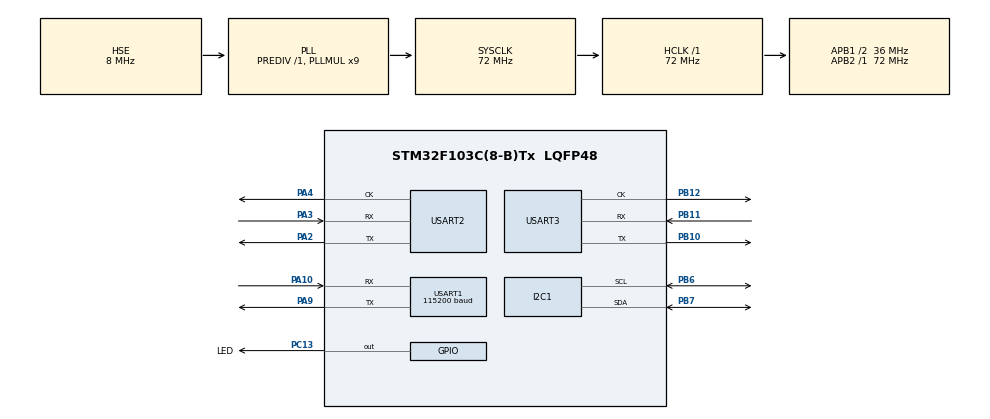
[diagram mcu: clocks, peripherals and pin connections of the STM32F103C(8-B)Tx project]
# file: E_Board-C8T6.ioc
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Dma.Request0=USART1_RX
Dma.USART1_RX.0.Direction=DMA_PERIPH_TO_MEMORY
Dma.USART1_RX.0.Instance=DMA1_Channel5
Dma.USART1_RX.0.MemDataAlignment=DMA_MDATAALIGN_BYTE
Dma.USART1_RX.0.MemInc=DMA_MINC_ENABLE
Dma.USART1_RX.0.Mode=DMA_NORMAL
Dma.USART1_RX.0.PeriphDataAlignment=DMA_PDATAALIGN_BYTE
Dma.USART1_RX.0.PeriphInc=DMA_PINC_DISABLE
Dma.USART1_RX.0.Priority=DMA_PRIORITY_LOW
I2C1.I2C_Mode=I2C_Standard
Mcu.Family=STM32F1
Mcu.Name=STM32F103C(8-B)Tx
Mcu.Package=LQFP48
NVIC.DMA1_Channel5_IRQn=true\:0\:0\:false\:false\:true\:false\:true\:true
NVIC.PriorityGroup=NVIC_PRIORITYGROUP_4
NVIC.USART1_IRQn=true\:0\:0\:false\:false\:true\:true\:true\:true
PA10.Mode=Asynchronous
PA10.Signal=USART1_RX
PA13.Mode=Serial_Wire
PA13.Signal=SYS_JTMS-SWDIO
PA14.Mode=Serial_Wire
PA14.Signal=SYS_JTCK-SWCLK
PA2.Mode=Synchronous
PA2.Signal=USART2_TX
PA3.Mode=Synchronous
PA3.Signal=USART2_RX
PA4.Mode=Synchronous
PA4.Signal=USART2_CK
PA9.Mode=Asynchronous
PA9.Signal=USART1_TX
PB10.Mode=Synchronous
PB10.Signal=USART3_TX
PB11.Mode=Synchronous
PB11.Signal=USART3_RX
PB12.Mode=Synchronous
PB12.Signal=USART3_CK
PB6.Mode=I2C
PB6.Signal=I2C1_SCL
PB7.Mode=I2C
PB7.Signal=I2C1_SDA
PC13-TAMPER-RTC.GPIO_Label=LED
PC13-TAMPER-RTC.GPIO_ModeDefaultOutputPP=GPIO_MODE_OUTPUT_PP
PC13-TAMPER-RTC.Signal=GPIO_Output
PD0-OSC_IN.Mode=HSE-External-Oscillator
PD0-OSC_IN.Signal=RCC_OSC_IN
PD1-OSC_OUT.Mode=HSE-External-Oscillator
PD1-OSC_OUT.Signal=RCC_OSC_OUT
ProjectManager.HeapSize=0x200
ProjectManager.StackSize=0x400
ProjectManager.TargetToolchain=MDK-ARM V5.27
RCC.AHBFreq_Value=72000000
RCC.APB1CLKDivider=RCC_HCLK_DIV2
RCC.APB1Freq_Value=36000000
RCC.APB1TimFreq_Value=72000000
RCC.APB2Freq_Value=72000000
RCC.APB2TimFreq_Value=72000000
RCC.HCLKFreq_Value=72000000
RCC.PLLMUL=RCC_PLL_MUL9
RCC.PLLSourceVirtual=RCC_PLLSOURCE_HSE
RCC.SYSCLKFreq_VALUE=72000000
RCC.SYSCLKSource=RCC_SYSCLKSOURCE_PLLCLK
RCC.USBFreq_Value=72000000
TIM2.Period=10000-1
TIM2.Prescaler=72-1
USART1.BaudRate=115200
USART1.Mode=MODE_TX_RX
USART1.OverSampling=UART_OVERSAMPLING_16
USART1.Parity=PARITY_NONE
USART1.StopBits=STOPBITS_1
USART1.VirtualMode=VM_ASYNC
USART1.WordLength=WORDLENGTH_8B
USART2.VirtualMode=VM_SYNC
USART3.VirtualMode=VM_SYNC
VP_TIM2_VS_ClockSourceINT.Mode=Internal
board=custom

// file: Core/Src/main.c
/* USER CODE BEGIN Header */
/**
  ******************************************************************************
  * @file           : main.c
  * @brief          : Main program body
  ******************************************************************************
  * @attention
  *
  * Copyright (c) 2023 STMicroelectronics.
  * All rights reserved.
  *
  * This software is licensed under terms that can be found in the LICENSE file
  * in the root directory of this software component.
  * If no LICENSE file comes with this software, it is provided AS-IS.
  *
  ******************************************************************************
  */
/* USER CODE END Header */
#include "main.h"
#include "dma.h"
#include "i2c.h"
#include "tim.h"
#include "usart.h"
#include "gpio.h"

/* USER CODE BEGIN PTD */

/* 告知连接器不从C库链接使用半主机的函�? */
#pragma import(__use_no_semihosting)

/* 定义 _sys_exit() 以避免使用半主机模式 */

void _sys_exit(int x)
{
    x = x;
}
/* 标准库需要的支持类型 */
struct __FILE
{
    int handle;
};
FILE __stdout;
/* USER CODE END PTD */

/* USER CODE BEGIN PV */

uint8_t uart1_rec_len = 50;
uint8_t uart1_rec_buf[50];
/* USER CODE END PV */

void SystemClock_Config(void);

int main(void)
{

  /* MCU Configuration--------------------------------------------------------*/

  /* Reset of all peripherals, Initializes the Flash interface and the Systick. */
  HAL_Init();

  /* Configure the system clock */
  SystemClock_Config();

  /* Initialize all configured peripherals */
  MX_GPIO_Init();
  MX_DMA_Init();
  MX_USART1_UART_Init();
  MX_USART2_Init();
  MX_USART3_Init();
  MX_TIM2_Init();
  MX_I2C1_Init();
  /* USER CODE BEGIN 2 */
	if(HAL_UARTEx_ReceiveToIdle_DMA(&huart1, uart1_rec_buf, uart1_rec_len) == HAL_OK)
	{
		__HAL_DMA_DISABLE_IT(&hdma_usart1_rx ,DMA_IT_HT);
	}

  /* USER CODE END 2 */

  /* Infinite loop */
  /* USER CODE BEGIN WHILE */

  while (1)
  {
		HAL_I2C_Master_Transmit(&hi2c1, 0x0068, "1234", 4, 100000);
		HAL_Delay(100);
		HAL_GPIO_TogglePin(LED_GPIO_Port, LED_Pin);
    /* USER CODE END WHILE */

  }
}

void SystemClock_Config(void)
{
  RCC_OscInitTypeDef RCC_OscInitStruct = {0};
  RCC_ClkInitTypeDef RCC_ClkInitStruct = {0};

  /** Initializes the RCC Oscillators according to the specified parameters
  * in the RCC_OscInitTypeDef structure.
  */
  RCC_OscInitStruct.OscillatorType = RCC_OSCILLATORTYPE_HSE;
  RCC_OscInitStruct.HSEState = RCC_HSE_ON;
  RCC_OscInitStruct.HSEPredivValue = RCC_HSE_PREDIV_DIV1;
  RCC_OscInitStruct.HSIState = RCC_HSI_ON;
  RCC_OscInitStruct.PLL.PLLState = RCC_PLL_ON;
  RCC_OscInitStruct.PLL.PLLSource = RCC_PLLSOURCE_HSE;
  RCC_OscInitStruct.PLL.PLLMUL = RCC_PLL_MUL9;
  if (HAL_RCC_OscConfig(&RCC_OscInitStruct) != HAL_OK)
  {
    Error_Handler();
  }

  /** Initializes the CPU, AHB and APB buses clocks
  */
  RCC_ClkInitStruct.ClockType = RCC_CLOCKTYPE_HCLK|RCC_CLOCKTYPE_SYSCLK
                              |RCC_CLOCKTYPE_PCLK1|RCC_CLOCKTYPE_PCLK2;
  RCC_ClkInitStruct.SYSCLKSource = RCC_SYSCLKSOURCE_PLLCLK;
  RCC_ClkInitStruct.AHBCLKDivider = RCC_SYSCLK_DIV1;
  RCC_ClkInitStruct.APB1CLKDivider = RCC_HCLK_DIV2;
  RCC_ClkInitStruct.APB2CLKDivider = RCC_HCLK_DIV1;

  if (HAL_RCC_ClockConfig(&RCC_ClkInitStruct, FLASH_LATENCY_2) != HAL_OK)
  {
    Error_Handler();
  }
}

/* USER CODE BEGIN 4 */
/* 串口DMA回调函数 */
void HAL_UARTEx_RxEventCallback(UART_HandleTypeDef *huart, uint16_t Size)
{
	if(huart == &huart1)
	{
		MY_UART1_Idle_Callback(Size);
		HAL_UARTEx_ReceiveToIdle_DMA(&huart1, uart1_rec_buf, uart1_rec_len);	/* 再次打开串口IDLEDMA接收函数 */
		__HAL_DMA_DISABLE_IT(&hdma_usart1_rx ,DMA_IT_HT);											/* 再次关闭接收过半中断 */
	}
}
/* USER CODE END 4 */

void Error_Handler(void)
{
  __disable_irq();
  while (1)
  {
  }
}
